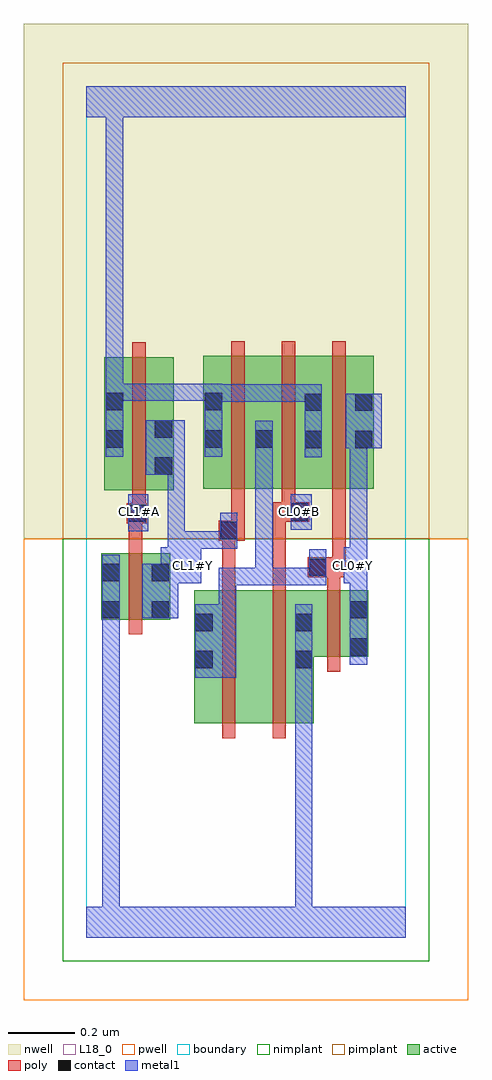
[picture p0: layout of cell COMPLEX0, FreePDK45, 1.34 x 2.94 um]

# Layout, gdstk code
import gdstk
lib = gdstk.Library(unit=1e-6, precision=1e-09)
def R(c, l, rs):  # rectangles x0, y0, x1, y1
    for r in rs: c.add(gdstk.rectangle(r[:2], r[2:], *l))
def A(c, l, x, y, w, h, nx, ny, dx, dy):  # array of equal rectangles
    R(c, l, [(x+i*dx, y+j*dy, x+i*dx+w, y+j*dy+h) for i in range(nx) for j in range(ny)])
active = (1, 0)
pwell = (2, 0)
nwell = (3, 0)
nimplant = (4, 0)
pimplant = (5, 0)
poly = (9, 0)
contact = (10, 0)
metal1 = (11, 0)
L18_0 = (18, 0)
boundary = (235, 0)

complex0 = lib.new_cell('COMPLEX0')
R(complex0, active, [(0.324,0.644,0.384,1.044), (0.324,0.644,0.504,1.044), (0.504,0.644,0.684,1.044), (0.624,0.644,0.684,1.044), (0.624,0.844,0.848,1.044), (0.788,0.844,0.848,1.044), (0.044,0.956,0.104,1.156), (0.044,0.956,0.252,1.156), (0.192,0.956,0.252,1.156), (0.054,1.346,0.114,1.746), (0.054,1.346,0.262,1.746), (0.202,1.346,0.262,1.644), (0.352,1.35,0.412,1.75), (0.352,1.35,0.564,1.75), (0.504,1.35,0.712,1.75), (0.652,1.35,0.712,1.75), (0.652,1.35,0.864,1.75), (0.804,1.35,0.864,1.75), (0.504,1.47,0.564,1.644)])
R(complex0, pwell, [(-0.188,-0.188,1.148,1.2)])
R(complex0, nwell, [(-0.188,1.2,1.148,2.748)])
R(complex0, nimplant, [(-0.072,-0.072,1.032,1.2)])
R(complex0, pimplant, [(-0.072,1.2,1.032,2.632)])
A(complex0, poly, 0.436, 1.306, 0.04, 0.488, 3, 1, 0.152, 0)
R(complex0, poly, [(0.408,0.6,0.448,1.088), (0.56,0.6,0.6,1.088), (0.724,0.8,0.764,1.088), (0.128,0.912,0.168,1.2), (0.408,1.048,0.448,1.234), (0.56,1.048,0.6,1.29), (0.724,1.048,0.764,1.124), (0.666,1.084,0.776,1.144), (0.736,1.104,0.776,1.144), (0.736,1.104,0.78,1.144), (0.74,1.104,0.78,1.346), (0.128,1.16,0.168,1.286), (0.398,1.194,0.476,1.254), (0.408,1.194,0.448,1.234), (0.408,1.194,0.448,1.234), (0.436,1.214,0.476,1.346), (0.122,1.246,0.182,1.306), (0.128,1.246,0.168,1.286), (0.128,1.246,0.168,1.286), (0.56,1.25,0.6,1.29), (0.56,1.25,0.6,1.29), (0.56,1.25,0.67,1.31), (0.138,1.266,0.178,1.342), (0.588,1.27,0.628,1.346), (0.138,1.302,0.178,1.79)])
R(complex0, contact, [(0.328,0.81,0.38,0.862), (0.628,0.81,0.68,0.862), (0.792,0.848,0.844,0.9), (0.328,0.922,0.38,0.974), (0.628,0.922,0.68,0.974), (0.048,0.96,0.1,1.012), (0.196,0.96,0.248,1.012), (0.792,0.96,0.844,1.012), (0.048,1.072,0.1,1.124), (0.196,1.072,0.248,1.124), (0.67,1.088,0.722,1.14), (0.402,1.198,0.454,1.25), (0.126,1.25,0.178,1.302), (0.614,1.254,0.666,1.306), (0.206,1.392,0.258,1.444), (0.656,1.472,0.708,1.524), (0.808,1.472,0.86,1.524), (0.058,1.474,0.11,1.526), (0.356,1.474,0.408,1.526), (0.508,1.474,0.56,1.526), (0.206,1.504,0.258,1.556), (0.656,1.584,0.708,1.636), (0.808,1.584,0.86,1.636), (0.058,1.586,0.11,1.638), (0.356,1.586,0.408,1.638)])
R(complex0, metal1, [(0,0,0.96,0.092), (0.048,0.04,0.1,0.092), (0.048,0.04,0.1,0.092), (0.048,0.04,0.1,0.092), (0.048,0.04,0.1,0.092), (0.048,0.04,0.1,0.092), (0.048,0.04,0.1,0.092), (0.048,0.04,0.1,0.092), (0.048,0.04,0.1,0.092), (0.048,0.04,0.1,0.092), (0.048,0.04,0.1,0.092), (0.048,0.04,0.1,0.092), (0.048,0.04,0.1,0.092), (0.048,0.04,0.1,0.092), (0.048,0.04,0.1,0.092), (0.048,0.04,0.1,0.984), (0.628,0.04,0.68,0.092), (0.628,0.04,0.68,0.092), (0.628,0.04,0.68,0.092), (0.628,0.04,0.68,0.092), (0.628,0.04,0.68,0.092), (0.628,0.04,0.68,0.092), (0.628,0.04,0.68,0.092), (0.628,0.04,0.68,0.092), (0.628,0.04,0.68,0.092), (0.628,0.04,0.68,0.092), (0.628,0.04,0.68,0.092), (0.628,0.04,0.68,0.092), (0.628,0.04,0.68,0.834), (0.328,0.782,0.45,1.002), (0.628,0.782,0.68,1.002), (0.792,0.82,0.844,1.04), (0.048,0.932,0.1,0.984), (0.048,0.932,0.1,0.984), (0.048,0.932,0.1,1.152), (0.398,0.95,0.45,1.112), (0.168,0.96,0.276,1.124), (0.792,0.988,0.844,1.118), (0.398,1.06,0.45,1.112), (0.398,1.06,0.456,1.112), (0.404,1.06,0.456,1.112), (0.404,1.06,0.56,1.112), (0.508,1.06,0.56,1.112), (0.508,1.06,0.56,1.112), (0.508,1.06,0.56,1.112), (0.508,1.06,0.566,1.112), (0.508,1.06,0.56,1.498), (0.514,1.06,0.566,1.112), (0.514,1.06,0.716,1.112), (0.664,1.06,0.716,1.112), (0.664,1.06,0.722,1.112), (0.67,1.06,0.722,1.168), (0.224,1.066,0.346,1.174), (0.774,1.066,0.844,1.174), (0.224,1.072,0.276,1.124), (0.244,1.122,0.296,1.222), (0.792,1.122,0.844,1.524), (0.244,1.17,0.296,1.222), (0.244,1.17,0.296,1.222), (0.244,1.17,0.296,1.222), (0.244,1.17,0.454,1.222), (0.244,1.17,0.296,1.444), (0.402,1.17,0.454,1.278), (0.126,1.222,0.186,1.334), (0.614,1.226,0.678,1.334), (0.178,1.392,0.296,1.556), (0.656,1.444,0.708,1.664), (0.058,1.446,0.11,1.666), (0.356,1.446,0.408,1.666), (0.508,1.446,0.56,1.554), (0.78,1.472,0.888,1.636), (0.792,1.472,0.844,1.524), (0.792,1.472,0.844,1.524), (0.356,1.612,0.456,1.664), (0.404,1.612,0.456,1.664), (0.404,1.612,0.57,1.664), (0.518,1.612,0.57,1.664), (0.518,1.612,0.57,1.664), (0.518,1.612,0.57,1.664), (0.518,1.612,0.708,1.664), (0.058,1.614,0.11,1.666), (0.058,1.614,0.11,1.666), (0.058,1.614,0.11,1.666), (0.058,1.614,0.11,1.666), (0.058,1.614,0.11,1.666), (0.058,1.614,0.11,1.666), (0.058,1.614,0.11,1.666), (0.058,1.614,0.11,1.666), (0.058,1.614,0.11,1.666), (0.058,1.614,0.11,1.666), (0.058,1.614,0.11,1.666), (0.058,1.614,0.11,1.666), (0.058,1.614,0.11,1.666), (0.058,1.614,0.11,1.666), (0.058,1.614,0.34,1.666), (0.058,1.614,0.11,2.52), (0.288,1.614,0.34,1.666), (0.288,1.614,0.408,1.666), (0,2.468,0.96,2.56), (0.058,2.468,0.11,2.52), (0.058,2.468,0.11,2.52), (0.058,2.468,0.11,2.52), (0.058,2.468,0.11,2.52)])
R(complex0, L18_0, [(0,0,0.96,0.092), (0.048,0.04,0.1,0.092), (0.048,0.04,0.1,0.092), (0.048,0.04,0.1,0.092), (0.048,0.04,0.1,0.092), (0.048,0.04,0.1,0.092), (0.048,0.04,0.1,0.092), (0.048,0.04,0.1,0.092), (0.048,0.04,0.1,0.092), (0.048,0.04,0.1,0.092), (0.048,0.04,0.1,0.092), (0.048,0.04,0.1,0.092), (0.048,0.04,0.1,0.092), (0.048,0.04,0.1,0.092), (0.048,0.04,0.1,0.092), (0.048,0.04,0.1,0.984), (0.628,0.04,0.68,0.092), (0.628,0.04,0.68,0.092), (0.628,0.04,0.68,0.092), (0.628,0.04,0.68,0.092), (0.628,0.04,0.68,0.092), (0.628,0.04,0.68,0.092), (0.628,0.04,0.68,0.092), (0.628,0.04,0.68,0.092), (0.628,0.04,0.68,0.092), (0.628,0.04,0.68,0.092), (0.628,0.04,0.68,0.092), (0.628,0.04,0.68,0.092), (0.628,0.04,0.68,0.834), (0.628,0.782,0.68,1.002), (0.792,0.82,0.844,1.04), (0.048,0.932,0.1,0.984), (0.048,0.932,0.1,0.984), (0.048,0.932,0.1,1.152), (0.168,0.96,0.276,1.124), (0.792,0.988,0.844,1.118), (0.224,1.066,0.346,1.174), (0.774,1.066,0.844,1.174), (0.224,1.072,0.276,1.124), (0.294,1.094,0.346,1.146), (0.774,1.094,0.826,1.146), (0.244,1.122,0.296,1.222), (0.792,1.122,0.844,1.524), (0.244,1.17,0.296,1.222), (0.244,1.17,0.296,1.222), (0.244,1.17,0.296,1.222), (0.244,1.17,0.296,1.444), (0.244,1.17,0.454,1.222), (0.402,1.17,0.454,1.278), (0.126,1.222,0.186,1.334), (0.614,1.226,0.678,1.334), (0.134,1.254,0.186,1.306), (0.614,1.254,0.666,1.306), (0.178,1.392,0.296,1.556), (0.656,1.444,0.708,1.664), (0.058,1.446,0.11,1.666), (0.356,1.446,0.408,1.666), (0.78,1.472,0.888,1.636), (0.792,1.472,0.844,1.524), (0.792,1.472,0.844,1.524), (0.356,1.612,0.456,1.664), (0.404,1.612,0.456,1.664), (0.404,1.612,0.57,1.664), (0.518,1.612,0.57,1.664), (0.518,1.612,0.57,1.664), (0.518,1.612,0.57,1.664), (0.518,1.612,0.708,1.664), (0.058,1.614,0.11,1.666), (0.058,1.614,0.11,1.666), (0.058,1.614,0.11,1.666), (0.058,1.614,0.11,1.666), (0.058,1.614,0.11,1.666), (0.058,1.614,0.11,1.666), (0.058,1.614,0.11,1.666), (0.058,1.614,0.11,1.666), (0.058,1.614,0.11,1.666), (0.058,1.614,0.11,1.666), (0.058,1.614,0.11,1.666), (0.058,1.614,0.11,1.666), (0.058,1.614,0.11,1.666), (0.058,1.614,0.11,1.666), (0.058,1.614,0.11,2.52), (0.058,1.614,0.34,1.666), (0.288,1.614,0.34,1.666), (0.288,1.614,0.408,1.666), (0,2.468,0.96,2.56), (0.058,2.468,0.11,2.52), (0.058,2.468,0.11,2.52), (0.058,2.468,0.11,2.52), (0.058,2.468,0.11,2.52)])
R(complex0, boundary, [(0,0,0.96,2.56)])
complex0.add(gdstk.Label('CL0#B', (0.64,1.28), layer=11, texttype=0))
complex0.add(gdstk.Label('CL0#Y', (0.8,1.12), layer=11, texttype=0))
complex0.add(gdstk.Label('CL1#A', (0.16,1.28), layer=11, texttype=0))
complex0.add(gdstk.Label('CL1#Y', (0.32,1.12), layer=11, texttype=0))

lib.write_gds('COMPLEX0.gds')
